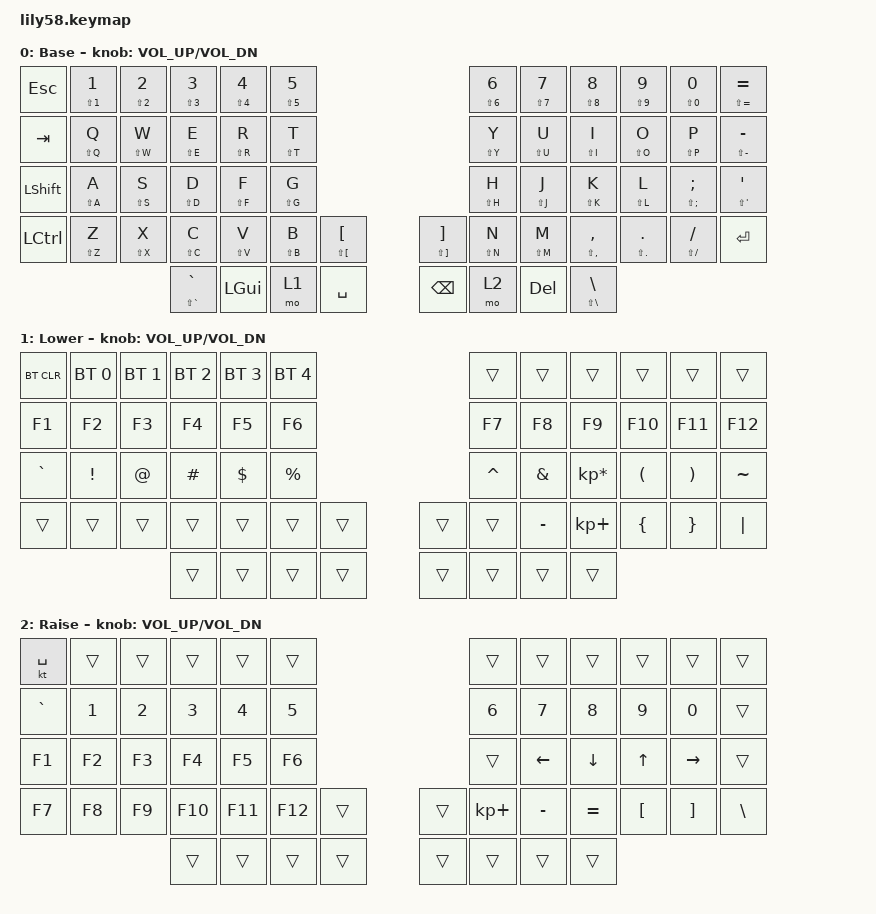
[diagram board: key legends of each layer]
/*
 * Copyright (c) 2020 The ZMK Contributors
 *
 * SPDX-License-Identifier: MIT
 */

#include <behaviors.dtsi>
#include <dt-bindings/zmk/bt.h>
#include <dt-bindings/zmk/keys.h>
#include <dt-bindings/zmk/keys.h>

&mt {
    tapping-term-ms = <300>;
};

/ {
    keymap {
        compatible = "zmk,keymap";

        default_layer {
            // ------------------------------------------------------------------------------------------------------------
            // |  ESC  |  1  |  2  |  3   |  4   |  5   |                   |  6   |  7    |  8    |  9   |   0   |   `   |
            // |  TAB  |  Q  |  W  |  E   |  R   |  T   |                   |  Y   |  U    |  I    |  O   |   P   |   -   |
            // |  CTRL |  A  |  S  |  D   |  F   |  G   |                   |  H   |  J    |  K    |  L   |   ;   |   '   |
            // | SHIFT |  Z  |  X  |  C   |  V   |  B   |   "["  |  |  "]"  |  N   |  M    |  ,    |  .   |   /   | SHIFT |
            //                     | ALT  | GUI  | LOWER|  SPACE |  | ENTER | RAISE| BSPC  | GUI   |

            label = "Base";
            bindings = <
&kp ESC           &mt LS(N1) N1  &mt LS(N2) N2  &mt LS(N3) N3        &mt LS(N4) N4  &mt LS(N5) N5                                                                            &mt LS(N6) N6  &mt LS(N7) N7  &mt LS(N8) N8                &mt LS(N9) N9    &mt LS(N0) N0      &mt LS(EQUAL) EQUAL
&kp TAB           &mt LS(Q) Q    &mt LS(W) W    &mt LS(E) E          &mt LS(R) R    &mt LS(T) T                                                                              &mt LS(Y) Y    &mt LS(U) U    &mt LS(I) I                  &mt LS(O) O      &mt LS(P) P        &mt LS(MINUS) MINUS
&kp LEFT_SHIFT    &mt LS(A) A    &mt LS(S) S    &mt LS(D) D          &mt LS(F) F    &mt LS(G) G                                                                              &mt LS(H) H    &mt LS(J) J    &mt LS(K) K                  &mt LS(L) L      &mt LS(SEMI) SEMI  &mt LS(SINGLE_QUOTE) SINGLE_QUOTE
&kp LEFT_CONTROL  &mt LS(Z) Z    &mt LS(X) X    &mt LS(C) C          &mt LS(V) V    &mt LS(B) B    &mt LS(LEFT_BRACKET) LEFT_BRACKET    &mt LS(RIGHT_BRACKET) RIGHT_BRACKET  &mt LS(N) N    &mt LS(M) M    &mt LS(COMMA) COMMA          &mt LS(DOT) DOT  &mt LS(FSLH) FSLH  &kp ENTER
                                                &mt LS(GRAVE) GRAVE  &kp LGUI       &mo 1          &kp SPACE                            &kp BACKSPACE                        &mo 2          &kp DELETE     &mt LS(BACKSLASH) BACKSLASH
            >;

            sensor-bindings = <&inc_dec_kp C_VOL_UP C_VOL_DN>;
        };

        lower_layer {
            // ------------------------------------------------------------------------------------------------------------
            // | BTCLR | BT1 | BT2 |  BT3 |  BT4 |  BT5 |                   |      |       |       |      |       |       |
            // |  F1   |  F2 |  F3 |  F4  |  F5  |  F6  |                   |  F7  |  F8   |  F9   |  F10 |  F11  |  F12  |
            // |   `   |  !  |  @  |  #   |  $   |  %   |                   |  ^   |  &    |  *    |  (   |   )   |   ~   |
            // |       |     |     |      |      |      |        |  |       |      |  _    |  +    |  {   |   }   |  "|"  |
            //                     |      |      |      |        |  |       |      |       |       |

            label = "Lower";
            bindings = <
&bt BT_CLR  &bt BT_SEL 0  &bt BT_SEL 1  &bt BT_SEL 2  &bt BT_SEL 3  &bt BT_SEL 4                    &trans     &trans     &trans           &trans    &trans    &trans
&kp F1      &kp F2        &kp F3        &kp F4        &kp F5        &kp F6                          &kp F7     &kp F8     &kp F9           &kp F10   &kp F11   &kp F12
&kp GRAVE   &kp EXCL      &kp AT        &kp HASH      &kp DOLLAR    &kp PRCNT                       &kp CARET  &kp AMPS   &kp KP_MULTIPLY  &kp LPAR  &kp RPAR  &kp TILDE
&trans      &trans        &trans        &trans        &trans        &trans        &trans    &trans  &trans     &kp MINUS  &kp KP_PLUS      &kp LBRC  &kp RBRC  &kp PIPE
                                        &trans        &trans        &trans        &trans    &trans  &trans     &trans     &trans
            >;

            sensor-bindings = <&inc_dec_kp C_VOL_UP C_VOL_DN>;
        };

        raise_layer {
            // ------------------------------------------------------------------------------------------------------------
            // |       |     |     |      |      |      |                   |      |       |       |      |       |       |
            // |   `   |  1  |  2  |  3   |  4   |  5   |                   |  6   |   7   |   8   |  9   |   0   |       |
            // |   F1  |  F2 |  F3 |  F4  |  F5  |  F6  |                   |      |   <-  |   v   |  ^   |  ->   |       |
            // |   F7  |  F8 |  F9 |  F10 |  F11 |  F12 |        |  |       |  +   |   -   |   =   |  [   |   ]   |   \   |
            //                     |      |      |      |        |  |       |      |       |       |

            label = "Raise";
            bindings = <
&kt SPACE  &trans  &trans  &trans   &trans   &trans                     &trans       &trans     &trans     &trans    &trans     &trans
&kp GRAVE  &kp N1  &kp N2  &kp N3   &kp N4   &kp N5                     &kp N6       &kp N7     &kp N8     &kp N9    &kp N0     &trans
&kp F1     &kp F2  &kp F3  &kp F4   &kp F5   &kp F6                     &trans       &kp LEFT   &kp DOWN   &kp UP    &kp RIGHT  &trans
&kp F7     &kp F8  &kp F9  &kp F10  &kp F11  &kp F12  &trans    &trans  &kp KP_PLUS  &kp MINUS  &kp EQUAL  &kp LBKT  &kp RBKT   &kp BSLH
                           &trans   &trans   &trans   &trans    &trans  &trans       &trans     &trans
            >;

            sensor-bindings = <&inc_dec_kp C_VOL_UP C_VOL_DN>;
        };
    };
};
